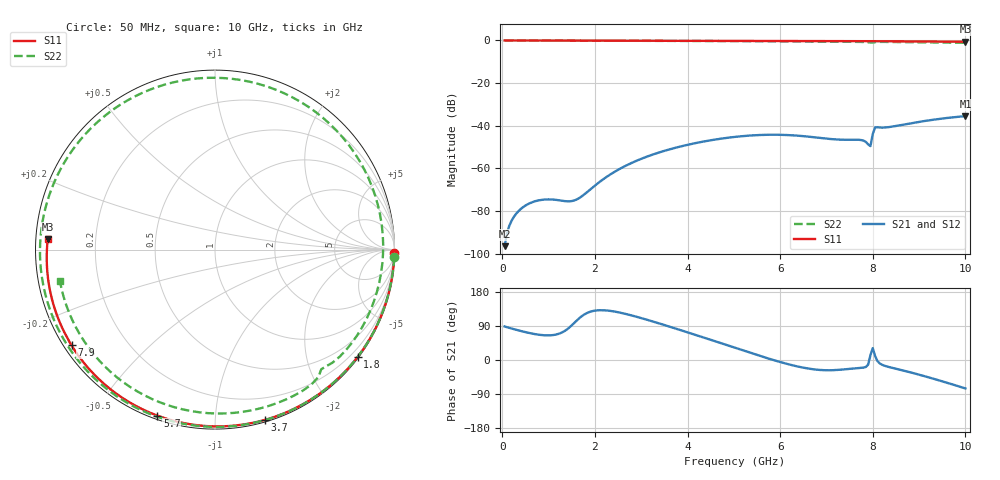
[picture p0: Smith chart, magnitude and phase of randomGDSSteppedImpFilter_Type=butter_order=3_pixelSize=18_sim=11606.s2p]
! freq	dB(S11)	phase(S11)	dB(S12)	phase(S12)
!  dB(S21)	phase(S21)	dB(S22)	phase(S22)
!S-par simulation data
#  GHz  S  DB  R 50
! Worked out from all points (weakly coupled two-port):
!   200 points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, 50 MHz to 10 GHz, reference 50 ohm
!   highest |S21| = -35.52 dB at 10 GHz (marker M1); lowest = -96.5 dB at 50 MHz (marker M2)
!   lowest |S11| = -0.6 dB at 10 GHz (marker M3), VSWR 29.18, Z = 1.72 + j1.51 ohm
!   |S11| at or under -10 dB: nowhere
!   |S22| runs from -1.1 to 0.0 dB; largest |S21 - S12| = 0
!   S11 on the Smith chart (normalised r, x): 50 MHz: open; 1.8 GHz: 0.03, -2.99; 3.7 GHz: 0.02, -1.34; 5.7 GHz: 0.02, -0.71; 7.9 GHz: 0.02, -0.30; 10 GHz: 0.03, +0.03
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0.05  -0.00 -1.1  -96.54 88.5  -96.54 88.5  -0.00 -2.5
0.35  -0.01 -7.3  -80.09 78.1  -80.09 78.1  -0.02 -17.2
0.65  -0.02 -13.5  -75.89 69.5  -75.89 69.5  -0.04 -31.8
1  -0.03 -20.8  -74.58 65.0  -74.58 65.0  -0.06 -48.6
1.5  -0.04 -31.0  -75.38 91.5  -75.38 91.5  -0.09 -71.8
1.75  -0.05 -36.0  -72.60 118.5  -72.60 118.5  -0.10 -83.1
1.8  -0.05 -37.0  -71.74 122.2  -71.74 122.2  -0.10 -85.4
2.55  -0.07 -51.8  -60.10 124.8  -60.10 124.8  -0.14 -118.1
3.4  -0.09 -68.1  -52.47 96.1  -52.47 96.1  -0.18 -154.2
3.7  -0.10 -73.7  -50.59 84.7  -50.59 84.7  -0.20 -167.0
4.4  -0.12 -86.4  -47.22 57.3  -47.22 57.3  -0.25 161.9
5.05  -0.15 -97.9  -45.20 31.2  -45.20 31.2  -0.30 130.6
5.7  -0.18 -109.2  -44.28 5.6  -44.28 5.6  -0.37 95.7
6.2  -0.21 -117.7  -44.44 -11.9  -44.44 -11.9  -0.42 66.2
6.7  -0.25 -126.1  -45.35 -24.2  -45.35 -24.2  -0.49 34.6
7.3  -0.29 -136.2  -46.56 -25.6  -46.56 -25.6  -0.58 -4.7
7.9  -0.34 -146.3  -48.77 -12.2  -48.77 -12.2  -0.83 -43.9
7.95  -0.35 -147.1  -49.57 13.1  -49.57 13.1  -0.95 -46.7
8.05  -0.37 -148.8  -40.86 10.5  -40.86 10.5  -0.78 -50.9
8.35  -0.39 -153.9  -40.65 -18.6  -40.65 -18.6  -0.71 -71.0
9.1  -0.48 -167.0  -37.87 -42.1  -37.87 -42.1  -0.90 -116.0
10  -0.60 176.5  -35.52 -75.0  -35.52 -75.0  -1.09 -168.5
